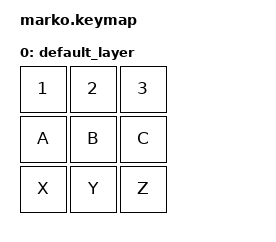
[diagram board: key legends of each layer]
/*
 * Copyright (c) 2022 Filip Marko
 *
 * SPDX-License-Identifier: MIT
 */

#include <behaviors.dtsi>
#include <dt-bindings/zmk/keys.h>

/ {
	keymap {
		compatible = "zmk,keymap";
		
		default_layer {
// ------------------------------------------------------------------------------------------
// | 1 | 2 | 3 |
// | a | b | c |
// | x | y | z |
// ------------------------------------------------------------------------------------------
			bindings = <
	&kp N1 &kp N2 &kp N3
	&kp A  &kp B  &kp C
	&kp X  &kp Y  &kp Z
			>;
		};
	};
};
